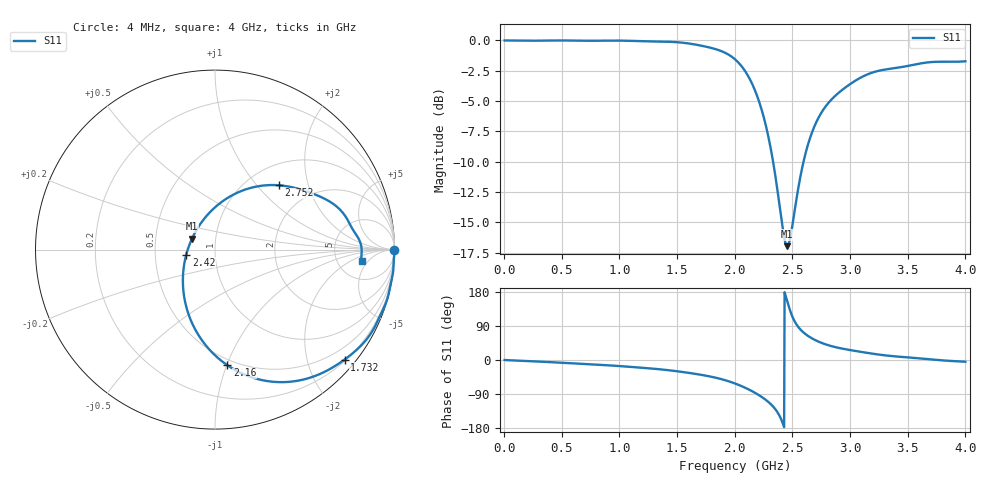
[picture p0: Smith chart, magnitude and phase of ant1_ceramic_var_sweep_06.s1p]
! TOUCHSTONE file generated by CST MICROWAVE STUDIO
! Date and time: Fri May  6 09:22:49 2022
! Project name: ant1_ceramic_sweep_10porcent.cst
! Parameters = {e=0.035; h=1.6; i=0.8; l1=0.45; l2=17; ls=80; wl=1.7; ws=30}
! Header version: 2018
! Port assignment regex: !\s*Touchstone port\s*([0-9]+)\s*=\s*(CST MWS port|CST DS port)\s*([0-9]+|Zmin|Zmax)\s*\(\"(.*)\"\)(\s*mode\s*([0-9]+))?.*
! Touchstone port assignment:
! Touchstone port 1 = CST MWS port 1 ("")
# GHz S DB R 50
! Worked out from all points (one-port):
!   1000 points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, 4 MHz to 4 GHz, reference 50 ohm
!   lowest |S11| = -17.0 dB at 2.456 GHz (marker M1), VSWR 1.33, Z = 38.4 + j4.84 ohm
!   |S11| at or under -10 dB: 2.332 GHz to 2.596 GHz (263.6 MHz wide, 10.7 % of centre)
!   S11 on the Smith chart (normalised r, x): 4 MHz: open; 1.732 GHz: 0.23, -2.70; 2.16 GHz: 0.45, -1.00; 2.42 GHz: 0.72, -0.04; 2.752 GHz: 1.37, +1.32; 4 GHz: 8.76, -3.50
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0.004  -0.00 -0.1
0.504  -0.00 -7.3
1.004  -0.01 -16.1
1.332  -0.09 -24.0
1.504  -0.15 -29.8
1.732  -0.47 -40.4
1.88  -0.86 -50.1
2.004  -1.57 -62.2
2.084  -2.44 -72.3
2.16  -3.77 -83.9
2.236  -5.80 -98.0
2.3  -8.33 -113.0
2.36  -11.67 -133.2
2.42  -15.78 -170.1
2.44  -16.72 170.9
2.456  -16.95 154.2
2.476  -16.50 134.0
2.504  -14.99 111.4
2.564  -11.47 82.3
2.616  -9.23 67.7
2.68  -7.33 55.3
2.752  -5.94 45.2
2.86  -4.66 34.9
3.004  -3.57 26.0
3.22  -2.57 15.5
3.504  -2.09 6.8
3.708  -1.78 1.4
4  -1.71 -4.5
